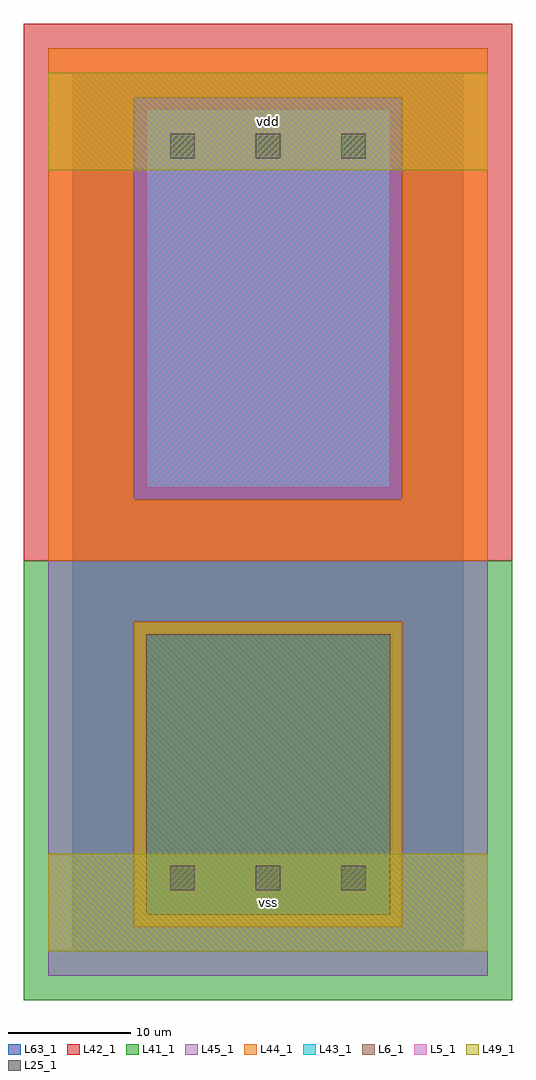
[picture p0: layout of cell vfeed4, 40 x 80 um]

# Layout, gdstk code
import gdstk
lib = gdstk.Library(unit=1e-6, precision=1e-09)
def R(c, l, rs):  # rectangles x0, y0, x1, y1
    for r in rs: c.add(gdstk.rectangle(r[:2], r[2:], *l))
def A(c, l, x, y, w, h, nx, ny, dx, dy):  # array of equal rectangles
    R(c, l, [(x+i*dx, y+j*dy, x+i*dx+w, y+j*dy+h) for i in range(nx) for j in range(ny)])
L5_1 = (5, 1)
L6_1 = (6, 1)
L25_1 = (25, 1)
L41_1 = (41, 1)
L42_1 = (42, 1)
L43_1 = (43, 1)
L44_1 = (44, 1)
L45_1 = (45, 1)
L49_1 = (49, 1)
L63_1 = (63, 1)

vfeed4 = lib.new_cell('vfeed4')
R(vfeed4, L5_1, [(6,38,26,69)])
R(vfeed4, L6_1, [(6,3,26,26), (6,3,26,26)])
A(vfeed4, L25_1, 8, 5, 2, 2, 3, 2, 7, 60)
R(vfeed4, L41_1, [(-4,-4,36,32)])
R(vfeed4, L42_1, [(-4,32,36,76)])
R(vfeed4, L43_1, [(6,3,26,26), (6,38,26,69)])
R(vfeed4, L44_1, [(5,2,27,27), (-2,32,34,37), (-2,37,5,70), (27,37,34,70), (-2,70,34,74)])
R(vfeed4, L45_1, [(-2,-2,34,2), (-2,2,5,27), (27,2,34,27), (-2,27,34,32), (5,37,27,70)])
R(vfeed4, L49_1, [(-2,0,34,8), (-2,64,34,72)])
R(vfeed4, L63_1, [(0,0,32,72)])
vfeed4.add(gdstk.Label('vss', (16,4), layer=49, texttype=1))
vfeed4.add(gdstk.Label('vdd', (16,68), layer=49, texttype=1))

lib.write_gds('vfeed4.gds')
